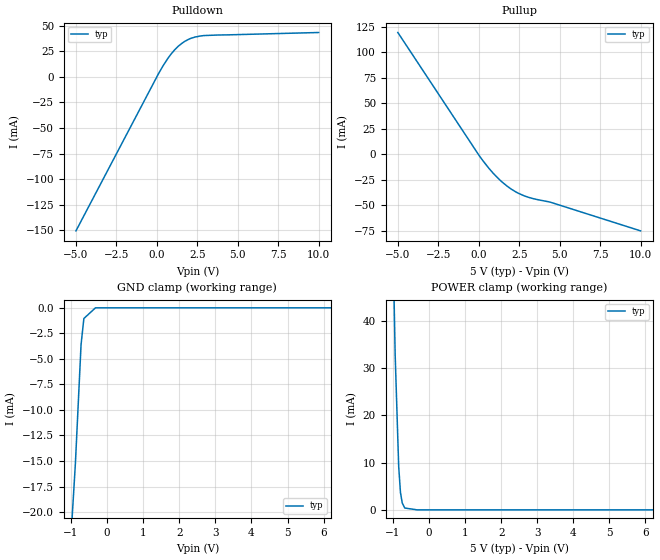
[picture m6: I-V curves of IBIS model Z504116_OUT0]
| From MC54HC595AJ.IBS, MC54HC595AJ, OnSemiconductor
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| (C) COPYRIGHT 1993-2000
| MENTOR GRAPHICS CORPORATION
| ICX STANDARD LIBRARY, ICX PROJECT MODELING,
| ICX CUSTOM MODELING, ICX VENDOR MODEL
| ALL RIGHTS RESERVED.
| THE FOLLOWING ARE TRADEMARKS OR SERVICE MARKS OF
| MENTOR GRAPHICS CORPORATION:ICX (R), ICX STANDARD
| LIBRARY(R), ICX PROJECT MODELING(R), ICX CUSTOM
| MODELING(R), qualityIBIS(TM), MODELVIEWER(TM),
| AND MODELEDITOR(TM)
| ALL COPIES OF SOFTWARE, INCLUDING BUT NOT LIMITED TO
| ANY MODIFICATIONS, ENHANCEMENTS OR DERIVATIVE WORKS,
| MUST CONTAIN ALL MENTOR GRAPHICS CORPORATION'S
| NOTICES AND LEGENDS, INCLUDING THOSE EMBEDDED IN
| SOFTWARE AND THOSE AFFIXED TO SOFTWARE MEDIUM
| AND CONTAINER, AS RECEIVED FROM MENTOR GRAPHICS
| CORPORATION.
| Model Application Version 1.89 2/18/99.
[Model] Z504116_OUT0
Model_type Output
Vref=0.000V
Rref=500.0Mohms
Cref=50.00pF
Vmeas=2.500V
C_comp 8.000pF NA NA
| variable typ   min   max
[Voltage Range] 5.000V NA NA
[POWER Clamp Reference] 5.000V NA NA
[Pullup Reference] 5.000V NA NA
[Pulldown Reference] 0.000V NA NA
[GND Clamp Reference] 0.000V NA NA
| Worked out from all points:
|   slope of the pulldown table from 0 to 0.75 V, typ, clamps not added: 38.5 ohm
|   slope of the pullup table from 0 to 0.75 V, typ, clamps not added: 48.9 ohm
|   POWER clamp passes 1 mA (typ) near -0.71 V on its own axis
[GND Clamp]
-5V       -155.1mA   NA         NA
-1.245V   -33.4mA    NA         NA
-1.06V    -25.85mA   NA         NA
-878.9mV  -15.22mA   NA         NA
-722.5mV  -3.615mA   NA         NA
-644.3mV  -1.047mA   NA         NA
-322.1mV  0A         NA         NA
10V       0A         NA         NA
[Pulldown]
-5V       -150.4mA   NA         NA
103.3mV   3.084mA    NA         NA
705.5mV   18.52mA    NA         NA
1.115V    26.57mA    NA         NA
1.331V    29.91mA    NA         NA
1.744V    34.77mA    NA         NA
2.003V    36.87mA    NA         NA
2.378V    38.91mA    NA         NA
2.916V    40.25mA    NA         NA
10V       43.22mA    NA         NA
[Pullup]
-5V       119.3mA    NA         NA
29mV      -1.484mA   NA         NA
909mV     -19.01mA   NA         NA
1.744V    -31.27mA   NA         NA
2.451V    -38.37mA   NA         NA
3.051V    -42.24mA   NA         NA
4.419V    -47.09mA   NA         NA
10V       -75.24mA   NA         NA
[POWER Clamp]
-5V       1.637A     NA         NA
-938mV    32.88mA    NA         NA
-840mV    9.183mA    NA         NA
-791mV    3.68mA     NA         NA
-742mV    1.467mA    NA         NA
-672mV    387.8uA    NA         NA
-336mV    0A         NA         NA
10V       0A         NA         NA
[Ramp]
| variable typ min max
dV/dt_r 2.968/1.439n NA NA
dV/dt_f 2.968/1.090n NA NA
R_load = 2.500kOhms
